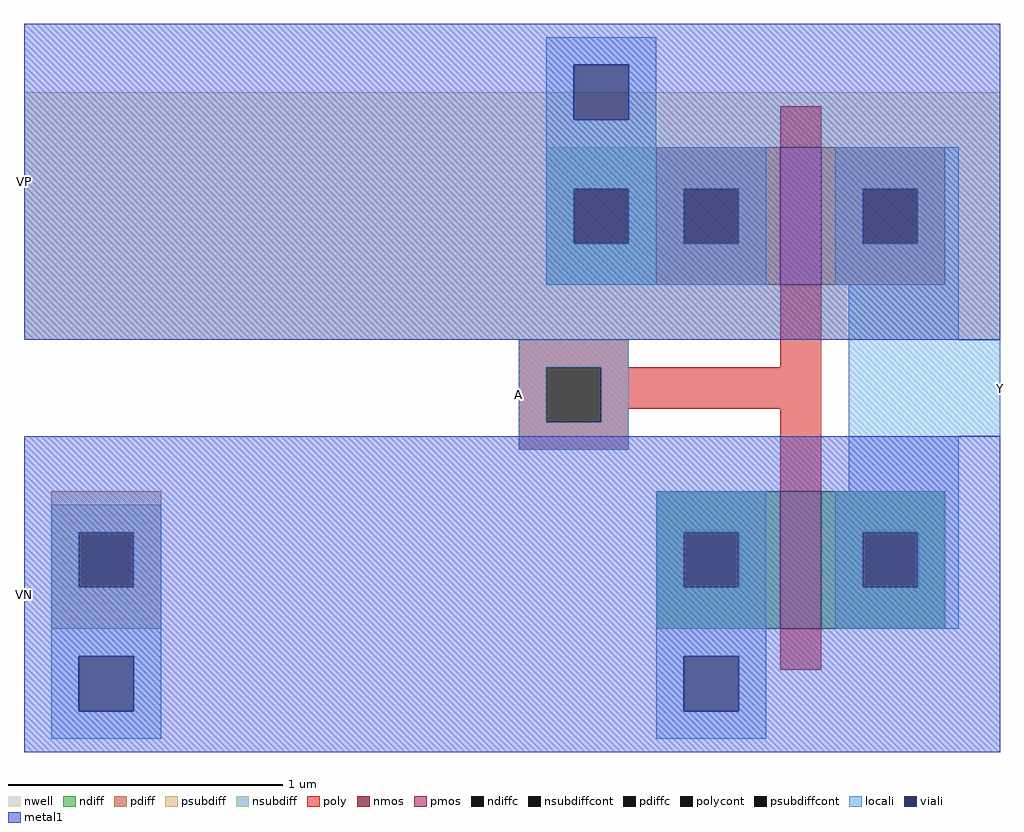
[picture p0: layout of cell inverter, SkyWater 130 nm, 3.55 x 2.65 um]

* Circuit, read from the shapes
.subckt inverter A Y VN VP
XM1 Y A VN VN sky130_fd_pr__nfet_01v8 w=0.5 l=0.15
XM2 Y A VP VP sky130_fd_pr__pfet_01v8 w=0.5 l=0.15
.ends

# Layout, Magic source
magic
tech sky130A
<< nwell >>
rect -75 95 280 185
<< nmos >>
rect 200 -10 215 40
<< pmos >>
rect 200 115 215 165
<< ndiff >>
rect 155 25 200 40
rect 155 5 165 25
rect 185 5 200 25
rect 155 -10 200 5
rect 215 25 260 40
rect 215 5 230 25
rect 250 5 260 25
rect 215 -10 260 5
<< pdiff >>
rect 155 150 200 165
rect 155 130 165 150
rect 185 130 200 150
rect 155 115 200 130
rect 215 150 260 165
rect 215 130 230 150
rect 250 130 260 150
rect 215 115 260 130
<< ndiffc >>
rect 165 5 185 25
rect 230 5 250 25
<< pdiffc >>
rect 165 130 185 150
rect 230 130 250 150
<< psubdiff >>
rect -65 25 -25 40
rect -65 5 -55 25
rect -35 5 -25 25
rect -65 -10 -25 5
<< nsubdiff >>
rect 115 150 155 165
rect 115 130 125 150
rect 145 130 155 150
rect 115 115 155 130
<< psubdiffcont >>
rect -55 5 -35 25
<< nsubdiffcont >>
rect 125 130 145 150
<< poly >>
rect 200 165 215 180
rect 105 85 145 95
rect 200 85 215 115
rect 105 65 115 85
rect 135 70 215 85
rect 135 65 145 70
rect 105 55 145 65
rect 200 40 215 70
rect 200 -25 215 -10
<< polycont >>
rect 115 65 135 85
<< locali >>
rect 115 195 155 205
rect 115 175 125 195
rect 145 175 155 195
rect 115 165 155 175
rect 115 150 195 165
rect 115 130 125 150
rect 145 130 165 150
rect 185 130 195 150
rect 115 115 195 130
rect 220 150 265 165
rect 220 130 230 150
rect 250 130 265 150
rect 220 115 265 130
rect 225 95 265 115
rect 105 85 145 95
rect 105 65 115 85
rect 135 65 145 85
rect 105 55 145 65
rect 225 60 280 95
rect 225 40 265 60
rect -65 25 -25 35
rect -65 5 -55 25
rect -35 5 -25 25
rect -65 -20 -25 5
rect -65 -40 -55 -20
rect -35 -40 -25 -20
rect -65 -50 -25 -40
rect 155 25 195 40
rect 155 5 165 25
rect 185 5 195 25
rect 155 -20 195 5
rect 220 25 265 40
rect 220 5 230 25
rect 250 5 265 25
rect 220 -10 265 5
rect 155 -40 165 -20
rect 185 -40 195 -20
rect 155 -50 195 -40
<< viali >>
rect 125 175 145 195
rect -55 -40 -35 -20
rect 165 -40 185 -20
<< metal1 >>
rect -75 195 280 210
rect -75 175 125 195
rect 145 175 280 195
rect -75 95 280 175
rect -75 -20 280 60
rect -75 -40 -55 -20
rect -35 -40 165 -20
rect 185 -40 280 -20
rect -75 -55 280 -40
<< labels >>
rlabel locali 105 70 105 80 7 A
port 1 w
rlabel locali 280 75 280 80 3 Y
port 2 e
rlabel metal1 -75 0 -75 5 7 VN
port 3 w
rlabel metal1 -75 150 -75 155 7 VP
port 4 w
<< end >>
